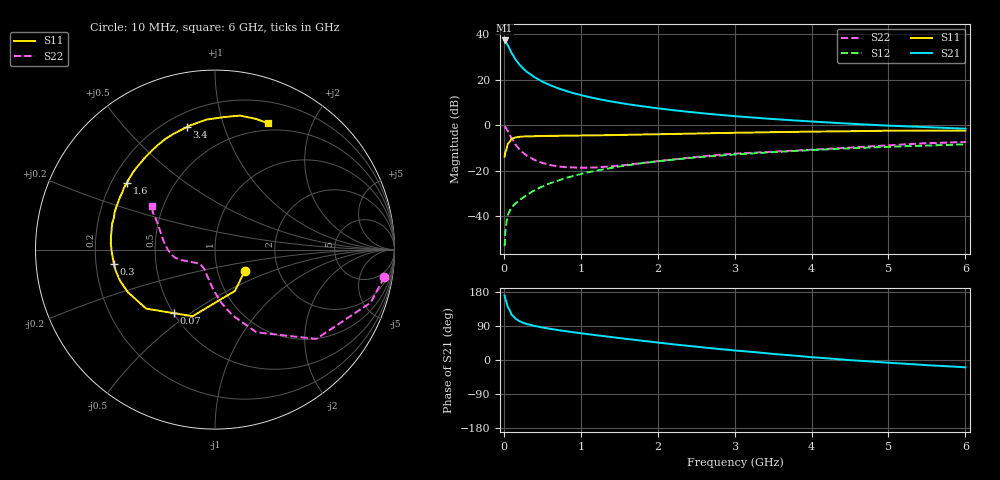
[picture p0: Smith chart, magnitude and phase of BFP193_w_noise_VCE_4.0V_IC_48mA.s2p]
! Infineon Technologies  Discrete & RF Semiconductors
! BFP193
! VCE =  4.0 V,  IC =  48 mA
! Common Emitter S-Parameters:  Jan 2017
# GHz  S  MA  R  50
!  f  S11  S21  S12  S22
! GHz  MAG  ANG  MAG  ANG  MAG  ANG  MAG  ANG
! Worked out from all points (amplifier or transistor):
!   77 points, 10 MHz to 6 GHz, reference 50 ohm
!   highest |S21| = 37.3 dB at 10 MHz (marker M1)
!   |S21| within 3 dB of that: start of sweep to 64.05 MHz
!   unconditionally stable (mu >= 1): 587.6 MHz to 2.379 GHz
!   at 130 MHz: K = 0.61, MSG = 32.6 dB, |S12| = -35.0 dB
!   at 2.2 GHz: K = 1.01, MAG = 10.3 dB, |S12| = -15.1 dB
!   at 6 GHz: K = 0.93, MSG = 3.5 dB, |S12| = -8.4 dB
!   lowest NFmin = 1.49 dB at 450 MHz
!   S11 on the Smith chart (normalised r, x): 10 MHz: 1.35, -0.34; 70 MHz: 0.50, -0.43; 300 MHz: 0.28, -0.07; 1.6 GHz: 0.26, +0.32; 3.4 GHz: 0.28, +0.75; 6 GHz: 0.42, +1.42
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0.01  0.2044 -35.9  73.09 170.4  0.0022 83.5  0.9554 -9.2
0.02  0.2556 -64.2  71.6 161.6  0.0046 77.5  0.9164 -18.8
0.05  0.3915 -108.6  57.51 139.9  0.0104 65.1  0.7522 -41.4
0.07  0.4214 -122.8  49.42 133.6  0.0125 63.1  0.6471 -48.3
0.1  0.5049 -139.3  38.96 119.6  0.0156 61.1  0.5154 -63.4
0.15  0.5405 -153.9  28.1 109.2  0.0191 59.6  0.3772 -75.3
0.2  0.5567 -161.9  21.8 102.8  0.022 62.1  0.2994 -83.1
0.25  0.5656 -167.8  17.71 98.1  0.0259 63.1  0.2487 -88.6
0.3  0.5688 -171.9  14.87 94.9  0.0294 64.3  0.2138 -93.8
0.4  0.5749 -178.0  11.32 89.6  0.0374 67.0  0.1721 -101.4
0.5  0.5813 176.9  9.086 85.7  0.0449 67.8  0.1491 -107.8
0.6  0.5841 173.0  7.62 82.2  0.0533 68.4  0.134 -113.8
0.7  0.5862 169.5  6.539 79.2  0.0603 68.0  0.1244 -118.7
0.8  0.5909 166.1  5.737 76.1  0.069 68.4  0.12 -122.7
1.1  0.5991 156.9  4.201 68.1  0.0931 66.2  0.1174 -133.8
1.6  0.6164 142.8  2.924 55.5  0.1312 60.5  0.1347 -147.3
2.1  0.6385 129.7  2.25 43.8  0.1683 54.2  0.1695 -157.8
3.1  0.6872 108.4  1.539 23.5  0.2333 41.3  0.2421 -173.4
3.4  0.7001 103.1  1.41 18.0  0.2507 37.9  0.2571 -178.2
4.1  0.7278 92.1  1.183 6.0  0.2896 29.4  0.2957 168.8
5.1  0.7594 78.2  0.965 -8.5  0.3403 17.9  0.3707 152.8
6  0.7642 67.2  0.841 -19.3  0.3795 7.8  0.4274 145.1
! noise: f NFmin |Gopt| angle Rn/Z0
0.45  1.49  0.42  -171  0.08
0.9  1.54  0.44  -164  0.08
1.9  2.17  0.61  -132  0.22
2.4  2.5  0.64  -119  0.47
